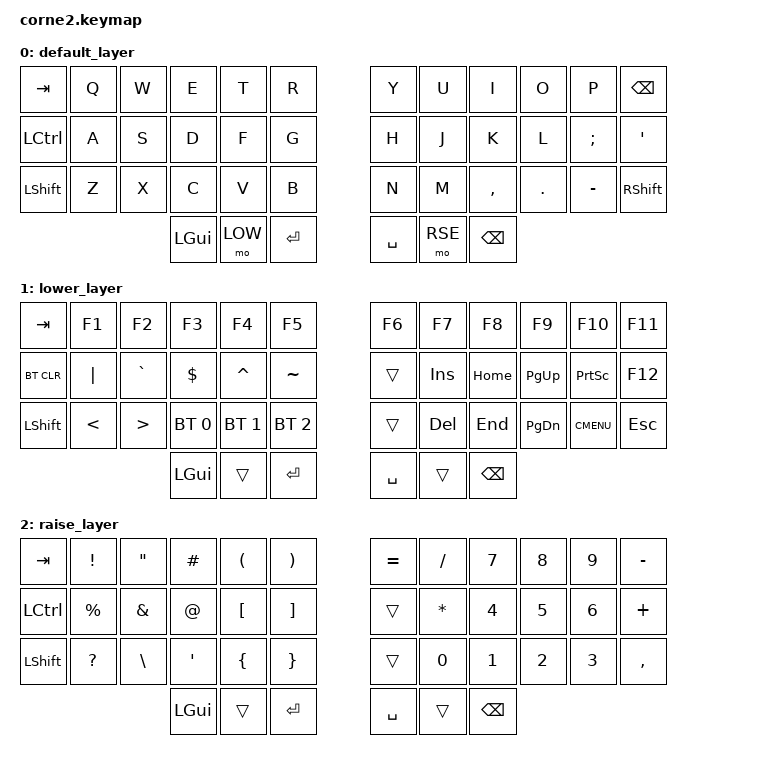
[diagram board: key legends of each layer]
/*
 * Copyright (c) 2020 The ZMK Contributors
 *
 * SPDX-License-Identifier: MIT
 */

#include <behaviors.dtsi>
#include <dt-bindings/zmk/keys.h>
#include <dt-bindings/zmk/bt.h>

#define ___ &trans

/ {
        keymap {
                compatible = "zmk,keymap";

                default_layer {

                        bindings = <
// |---------|---------|---------|---------|---------|---------|----|---------|---------|---------|---------|---------|---------|
// |   TAB   |   Q     |   W     |   E     |   R     |   T     |    |   Y     |   U     |   I     |   O     |   P     |   Å     |
   &kp TAB   &kp Q     &kp W     &kp E     &kp T     &kp R          &kp Y     &kp U     &kp I     &kp O     &kp P     &kp BSPC
// |    CTRL |   A     |   S     |   D     |   F     |   G     |    |   H     |   J     |   K     |   L     |   Ø     |   Æ     |
   &kp LCTRL &kp A     &kp S     &kp D     &kp F     &kp G          &kp H     &kp J     &kp K     &kp L     &kp SEMI  &kp SQT
// |    SHFT |   Z     |   X     |   C     |   V     |   B     |    |   N     |   M     |   ,     |   .     |   -     |   RSHFT |
   &kp LSHFT &kp Z     &kp X     &kp C     &kp V     &kp B          &kp N     &kp M     &kp COMMA &kp DOT   &kp MINUS &kp RSHFT
//                    |    GUI |       |   ENT |   |    SPC  |       |   BSPC |
                      &kp LGUI &mo LOW &kp RET     &kp SPACE &mo RSE &kp BSPC
                        >;
                };
                lower_layer {
                        bindings = <
// |---------_|---------|---------|---------|---------|---------|----_---|---------|---------|---------|---------|---------_-|---------|
// |   TAB    |   F1    |   F2    |   F3    |   F4    |   F5    |        |   F6    |   F7    |   F8    |   F9    |   F10     |   F11   |
   &kp TAB    &kp F1    &kp F2    &kp F3    &kp F4    &kp F5             &kp F6    &kp F7    &kp F8    &kp F9    &kp F10     &kp F11
// | BTCLR    |   "|"   |    `    |   $     |   ^     |   ~     |        |         |   INS   |   HM    |   PUp   |   PrS     |   F12   |
   &bt BT_CLR &kp PIPE  &kp GRAVE &kp DLLR  &kp CARET &kp TILDE             ___    &kp INS   &kp HOME  &kp PG_UP &kp PSCRN   &kp F12
// |   SHFT   |   <     |   >     |   BT1   |   BT2   |   BT3   |        |         |   DEL   |   END   |   PDw   |   CNT     |   ESC   |
   &kp LSHFT  &kp LT    &kp GT    &bt BT_SEL 0 &bt BT_SEL 1 &bt BT_SEL 2    ___    &kp DEL   &kp END   &kp PG_DN &kp K_CMENU &kp ESC
//                    |    GUI |      |   ENT |   |    SPC  |      |   BSPC |
                      &kp LGUI   ___  &kp RET     &kp SPACE   ___  &kp BSPC
                        >;
                };

                raise_layer {
                        bindings = <
// |---------|---------|---------|---------|---------|---------|----|---------|---------|---------|---------|---------|---------|
// |    TAB  |   !     |  "      |   #     |   (     |   )     |    |   =     |   /     |   7     |   8     |    9    |   -     |
   &kp  TAB  &kp EXCL  &kp DQT   &kp HASH  &kp LPAR  &kp RPAR       &kp EQUAL &kp FSLH  &kp N7    &kp N8    &kp  N9   &kp MINUS
// |    CTRL |   %     |   &     |   @     |   [     |   ]     |    |         |   *     |   4     |   5     |    6    |   +     |
   &kp LCTRL &kp PRCNT &kp AMPS  &kp AT    &kp LBKT  &kp RBKT           ___   &kp STAR  &kp N4    &kp N5    &kp  N6   &kp PLUS
// |    SHFT |   ?     |   \     |   '     |   {     |   }     |    |         |   0     |   1     |   2     |    3    |   ,     |
   &kp LSHFT &kp QMARK &kp BSLH  &kp SQT   &kp LBRC  &kp RBRC           ___   &kp N0    &kp N1    &kp N2    &kp N3    &kp COMMA
//                    |    GUI |      |   ENT |   |    SPC  |      |   BSPC |
                      &kp LGUI   ___  &kp RET     &kp SPACE   ___  &kp BSPC
                        >;
                };
        };
};
